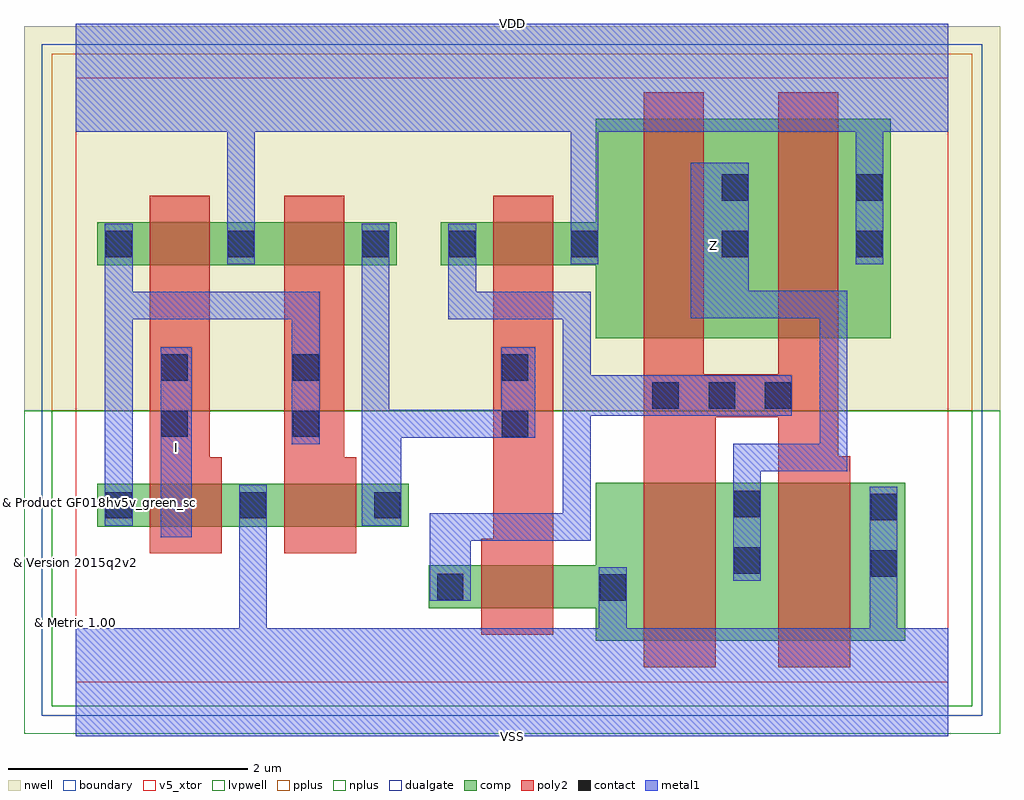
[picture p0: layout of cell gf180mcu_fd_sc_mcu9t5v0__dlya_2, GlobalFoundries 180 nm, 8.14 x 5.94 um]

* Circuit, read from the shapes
.subckt gf180mcu_fd_sc_mcu9t5v0__dlya_2 I VDD VSS Z
XM1 VSS I n1 VSUBS nfet_05v0 w=0.36u l=0.6u
XM2 n2 n1 VSS VSUBS nfet_05v0 w=0.36u l=0.6u
XM3 VSS n2 n3 VSUBS nfet_05v0 w=0.36u l=0.6u
XM4 Z n3 VSS VSUBS nfet_05v0 w=1.32u l=0.6u m=2
XM5 VDD I n1 n4 pfet_05v0 w=0.36u l=0.5u
XM6 n2 n1 VDD n4 pfet_05v0 w=0.36u l=0.5u
XM7 VDD n2 n3 n4 pfet_05v0 w=0.36u l=0.5u
XM8 Z n3 VDD n4 pfet_05v0 w=1.83u l=0.5u m=2
.ends

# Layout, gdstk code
import gdstk
lib = gdstk.Library(unit=1e-6, precision=1e-09)
def R(c, l, rs):  # rectangles x0, y0, x1, y1
    for r in rs: c.add(gdstk.rectangle(r[:2], r[2:], *l))
def A(c, l, x, y, w, h, nx, ny, dx, dy):  # array of equal rectangles
    R(c, l, [(x+i*dx, y+j*dy, x+i*dx+w, y+j*dy+h) for i in range(nx) for j in range(ny)])
def P(c, l, *ps):  # polygons
    for p in ps: c.add(gdstk.Polygon(p, *l))
boundary = (0, 0)
nwell = (21, 0)
comp = (22, 0)
poly2 = (30, 0)
pplus = (31, 0)
nplus = (32, 0)
contact = (33, 0)
metal1 = (34, 0)
dualgate = (55, 0)
v5_xtor = (112, 1)
lvpwell = (204, 0)

gf180mcu_fd_sc_mcu9t5v0_ = lib.new_cell('gf180mcu_fd_sc_mcu9t5v0__dlya_2')
R(gf180mcu_fd_sc_mcu9t5v0_, boundary, [(0,0,7.28,5.04)])
R(gf180mcu_fd_sc_mcu9t5v0_, nwell, [(-0.43,2.265,7.71,5.47)])
R(gf180mcu_fd_sc_mcu9t5v0_, comp, [(0.18,1.295,2.78,1.655), (0.18,3.475,2.68,3.835)])
P(gf180mcu_fd_sc_mcu9t5v0_, comp, [(4.34,2.87),(4.34,3.475),(3.045,3.475),(3.045,3.835),(4.34,3.835),(4.34,4.7),(6.8,4.7),(6.8,2.87)],
  [(4.34,0.345),(4.34,0.615),(2.945,0.615),(2.945,0.975),(4.34,0.975),(4.34,1.665),(6.92,1.665),(6.92,0.345)])
P(gf180mcu_fd_sc_mcu9t5v0_, poly2, [(0.62,1.075),(0.62,4.055),(1.12,4.055),(1.12,1.875),(1.22,1.875),(1.22,1.075)],
  [(1.74,1.075),(1.74,4.055),(2.24,4.055),(2.24,1.875),(2.34,1.875),(2.34,1.075)],
  [(3.385,0.395),(3.385,1.195),(3.485,1.195),(3.485,4.055),(3.985,4.055),(3.985,0.395)],
  [(4.74,0.125),(4.74,4.92),(5.24,4.92),(5.24,2.57),(5.86,2.57),(5.86,4.92),(6.36,4.92),(6.36,1.885),(6.46,1.885),(6.46,0.125),(5.86,0.125),(5.86,2.21),(5.34,2.21),(5.34,0.125)])
R(gf180mcu_fd_sc_mcu9t5v0_, pplus, [(-0.2,2.265,7.48,5.24)])
R(gf180mcu_fd_sc_mcu9t5v0_, nplus, [(-0.2,-0.2,7.48,2.265)])
A(gf180mcu_fd_sc_mcu9t5v0_, contact, 0.25, 1.365, 0.22, 0.22, 3, 1, 1.12, 0)
A(gf180mcu_fd_sc_mcu9t5v0_, contact, 4.81, 2.28, 0.22, 0.22, 3, 1, 0.47, 0)
R(gf180mcu_fd_sc_mcu9t5v0_, contact, [(4.37,0.68,4.59,0.9), (3.015,0.685,3.235,0.905), (6.63,0.88,6.85,1.1), (5.49,0.905,5.71,1.125), (6.63,1.35,6.85,1.57), (5.49,1.375,5.71,1.595), (0.715,2.045,0.935,2.265), (1.81,2.045,2.03,2.265), (3.555,2.045,3.775,2.265), (0.715,2.515,0.935,2.735), (1.81,2.515,2.03,2.735), (3.555,2.515,3.775,2.735), (0.25,3.545,0.47,3.765), (1.27,3.545,1.49,3.765), (2.39,3.545,2.61,3.765), (3.115,3.545,3.335,3.765), (4.135,3.545,4.355,3.765), (5.39,3.545,5.61,3.765), (6.51,3.545,6.73,3.765), (5.39,4.015,5.61,4.235), (6.51,4.015,6.73,4.235)])
R(gf180mcu_fd_sc_mcu9t5v0_, metal1, [(0.71,1.21,0.97,2.795)])
P(gf180mcu_fd_sc_mcu9t5v0_, metal1, [(0.245,1.305),(0.245,3.825),(0.475,3.825),(0.475,3.255),(2.035,3.255),(2.035,1.985),(1.805,1.985),(1.805,3.025),(0.475,3.025),(0.475,1.305)],
  [(2.385,1.305),(2.385,3.825),(2.615,3.825),(2.615,2.27),(3.55,2.27),(3.55,2.795),(3.835,2.795),(3.835,2.04),(2.715,2.04),(2.715,1.305)],
  [(2.955,0.68),(2.955,1.41),(4.065,1.41),(4.065,3.025),(3.11,3.025),(3.11,3.825),(3.34,3.825),(3.34,3.255),(4.295,3.255),(4.295,2.56),(5.975,2.56),(5.975,2.22),(4.295,2.22),(4.295,1.18),(3.295,1.18),(3.295,0.68)],
  [(5.485,0.845),(5.485,1.99),(6.205,1.99),(6.205,3.035),(5.13,3.035),(5.13,4.33),(5.615,4.33),(5.615,3.265),(6.435,3.265),(6.435,1.76),(5.715,1.76),(5.715,0.845)],
  [(0,-0.45),(0,0.45),(1.365,0.45),(1.365,1.645),(1.595,1.645),(1.595,0.45),(4.365,0.45),(4.365,0.96),(4.595,0.96),(4.595,0.45),(6.625,0.45),(6.625,1.63),(6.855,1.63),(6.855,0.45),(7.28,0.45),(7.28,-0.45)],
  [(1.265,3.485),(1.265,4.59),(0,4.59),(0,5.49),(7.28,5.49),(7.28,4.59),(6.735,4.59),(6.735,3.485),(6.505,3.485),(6.505,4.59),(4.36,4.59),(4.36,3.485),(4.13,3.485),(4.13,4.59),(1.495,4.59),(1.495,3.485)])
R(gf180mcu_fd_sc_mcu9t5v0_, dualgate, [(-0.28,-0.28,7.56,5.32)])
R(gf180mcu_fd_sc_mcu9t5v0_, v5_xtor, [(0,0,7.28,5.04)])
R(gf180mcu_fd_sc_mcu9t5v0_, lvpwell, [(-0.43,-0.43,7.71,2.265)])
gf180mcu_fd_sc_mcu9t5v0_.add(gdstk.Label('I', (0.84,1.96), layer=34, texttype=10))
gf180mcu_fd_sc_mcu9t5v0_.add(gdstk.Label('VDD', (3.64,5.49), layer=34, texttype=10))
gf180mcu_fd_sc_mcu9t5v0_.add(gdstk.Label('VSS', (3.64,-0.45), layer=34, texttype=10))
gf180mcu_fd_sc_mcu9t5v0_.add(gdstk.Label('Z', (5.32,3.64), layer=34, texttype=10))
gf180mcu_fd_sc_mcu9t5v0_.add(gdstk.Label('& Vendor GLOBALFOUNDRIES', (0,2), layer=63, texttype=63))
gf180mcu_fd_sc_mcu9t5v0_.add(gdstk.Label('& Product GF018hv5v_green_sc9', (0,1.5), layer=63, texttype=63))
gf180mcu_fd_sc_mcu9t5v0_.add(gdstk.Label('& Version 2015q2v2', (0,1), layer=63, texttype=63))
gf180mcu_fd_sc_mcu9t5v0_.add(gdstk.Label('& Metric 1.00', (0,0.5), layer=63, texttype=63))

lib.write_gds('gf180mcu_fd_sc_mcu9t5v0__dlya_2.gds')
